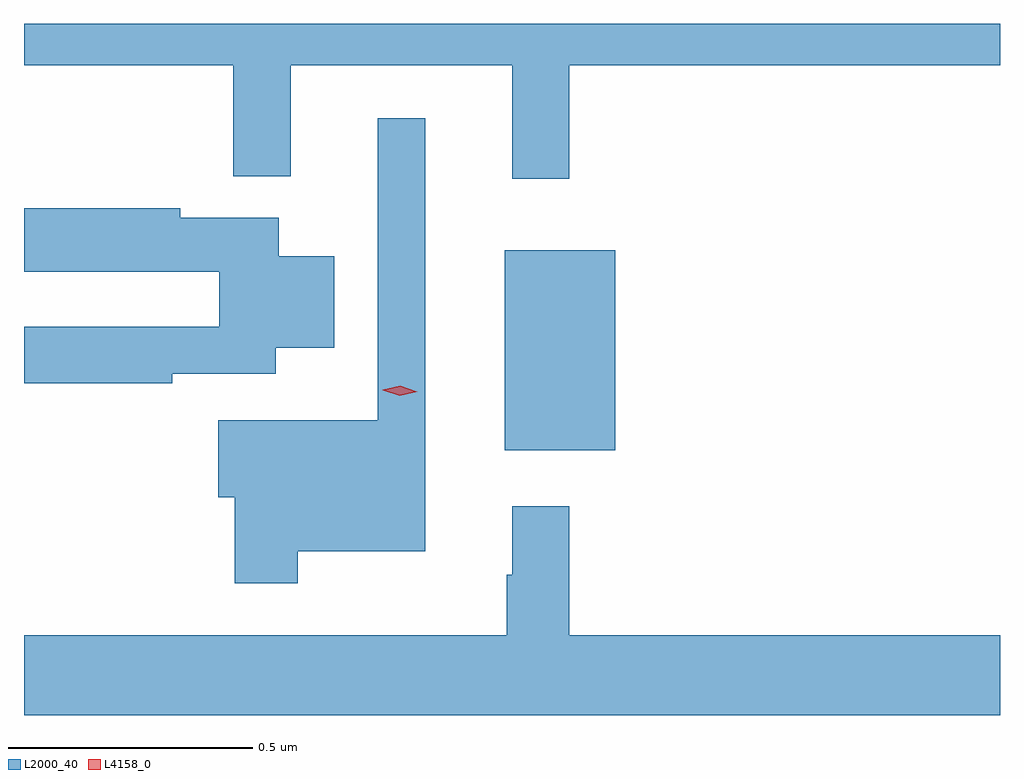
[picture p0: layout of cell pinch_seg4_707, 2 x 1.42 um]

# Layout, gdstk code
import gdstk
lib = gdstk.Library(unit=1e-6, precision=1e-09)
def R(c, l, rs):  # rectangles x0, y0, x1, y1
    for r in rs: c.add(gdstk.rectangle(r[:2], r[2:], *l))
def P(c, l, *ps):  # polygons
    for p in ps: c.add(gdstk.Polygon(p, *l))
L2000_40 = (2000, 40)
L4158_0 = (4158, 0)

pinch_seg4_707 = lib.new_cell('pinch_seg4_707')
R(pinch_seg4_707, L2000_40, [(1097.897,765.395,1098.124,765.805)])
P(pinch_seg4_707, L2000_40, [(1098.029,766.184),(1098.912,766.184),(1098.912,766.269),(1096.912,766.269),(1096.912,766.184),(1097.341,766.184),(1097.341,765.956),(1097.459,765.956),(1097.459,766.184),(1097.912,766.184),(1097.912,765.951),(1098.029,765.951)],
  [(1097.473,765.188),(1097.734,765.188),(1097.734,766.075),(1097.637,766.075),(1097.637,765.457),(1097.31,765.457),(1097.31,765.299),(1097.344,765.299),(1097.344,765.123),(1097.473,765.123)],
  [(1097.216,765.552),(1097.428,765.552),(1097.428,765.605),(1097.548,765.605),(1097.548,765.793),(1097.434,765.793),(1097.434,765.871),(1097.232,765.871),(1097.232,765.891),(1096.912,765.891),(1096.912,765.761),(1097.312,765.761),(1097.312,765.648),(1096.912,765.648),(1096.912,765.532),(1097.216,765.532)],
  [(1098.912,765.016),(1098.029,765.016),(1098.029,765.28),(1097.912,765.28),(1097.912,765.14),(1097.901,765.14),(1097.901,765.016),(1096.912,765.016),(1096.912,764.852),(1098.912,764.852)])
P(pinch_seg4_707, L4158_0, [(1097.682,765.507),(1097.647,765.518),(1097.647,765.519),(1097.647,765.519),(1097.683,765.527),(1097.718,765.515),(1097.718,765.515),(1097.718,765.515)])

lib.write_gds('pinch_seg4_707.gds')
